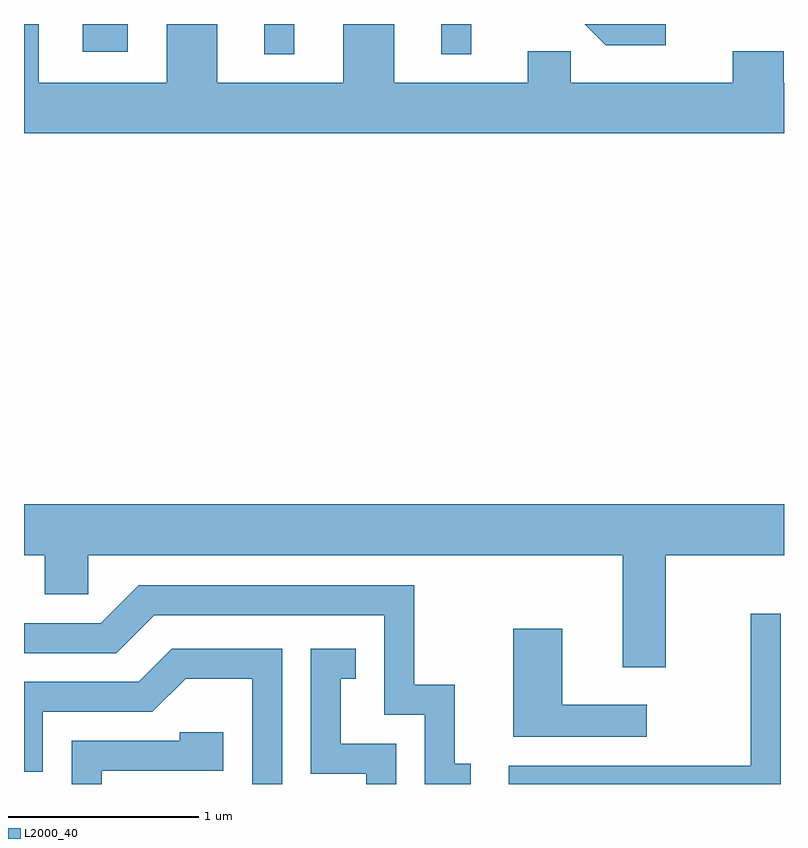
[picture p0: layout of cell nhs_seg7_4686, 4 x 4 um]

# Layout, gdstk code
import gdstk
lib = gdstk.Library(unit=1e-6, precision=1e-09)
def R(c, l, rs):  # rectangles x0, y0, x1, y1
    for r in rs: c.add(gdstk.rectangle(r[:2], r[2:], *l))
def P(c, l, *ps):  # polygons
    for p in ps: c.add(gdstk.Polygon(p, *l))
L2000_40 = (2000, 40)

nhs_seg7_4686 = lib.new_cell('nhs_seg7_4686')
R(nhs_seg7_4686, L2000_40, [(330.876,1688.093,331.034,1688.252), (331.806,1688.093,331.964,1688.252), (329.921,1688.106,330.158,1688.252)])
P(nhs_seg7_4686, L2000_40, [(332.988,1688.252),(332.563,1688.252),(332.674,1688.141),(332.988,1688.141)],
  [(333.611,1687.944),(333.609,1687.944),(333.609,1688.109),(333.341,1688.109),(333.341,1687.944),(332.489,1687.944),(332.489,1688.109),(332.261,1688.109),(332.261,1687.944),(331.559,1687.944),(331.559,1688.252),(331.291,1688.252),(331.291,1687.944),(330.629,1687.944),(330.629,1688.252),(330.361,1688.252),(330.361,1687.944),(329.689,1687.944),(329.689,1688.252),(329.611,1688.252),(329.611,1687.676),(333.611,1687.676)],
  [(332.989,1685.456),(333.611,1685.456),(333.611,1685.724),(329.611,1685.724),(329.611,1685.456),(329.721,1685.456),(329.721,1685.251),(329.949,1685.251),(329.949,1685.456),(332.761,1685.456),(332.761,1684.866),(332.989,1684.866)],
  [(331.963,1684.359),(331.879,1684.359),(331.879,1684.774),(331.664,1684.774),(331.664,1685.299),(330.214,1685.299),(330.014,1685.099),(329.611,1685.099),(329.611,1684.941),(330.097,1684.941),(330.297,1685.141),(331.506,1685.141),(331.506,1684.616),(331.721,1684.616),(331.721,1684.252),(331.963,1684.252)],
  [(333.594,1685.148),(333.436,1685.148),(333.436,1684.349),(332.163,1684.349),(332.163,1684.252),(333.594,1684.252)],
  [(332.888,1684.669),(332.444,1684.669),(332.444,1685.069),(332.186,1685.069),(332.186,1684.501),(332.888,1684.501)],
  [(331.569,1684.464),(331.279,1684.464),(331.279,1684.806),(331.358,1684.806),(331.358,1684.964),(331.121,1684.964),(331.121,1684.306),(331.411,1684.306),(331.411,1684.252),(331.569,1684.252)],
  [(330.969,1684.964),(330.389,1684.964),(330.214,1684.789),(329.611,1684.789),(329.611,1684.316),(329.709,1684.316),(329.709,1684.631),(330.287,1684.631),(330.462,1684.806),(330.811,1684.806),(330.811,1684.252),(330.969,1684.252)],
  [(330.019,1684.321),(330.659,1684.321),(330.659,1684.524),(330.431,1684.524),(330.431,1684.479),(329.861,1684.479),(329.861,1684.252),(330.019,1684.252)])

lib.write_gds('nhs_seg7_4686.gds')
